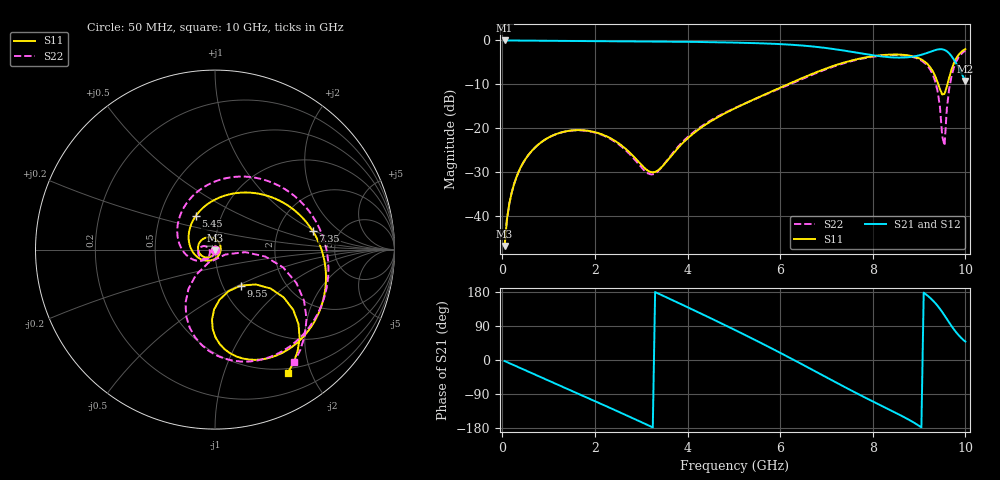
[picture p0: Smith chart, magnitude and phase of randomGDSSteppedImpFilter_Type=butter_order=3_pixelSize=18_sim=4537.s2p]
! freq	dB(S11)	phase(S11)	dB(S12)	phase(S12)
!  dB(S21)	phase(S21)	dB(S22)	phase(S22)
!S-par simulation data
#  GHz  S  DB  R 50
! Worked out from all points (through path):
!   200 points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, 50 MHz to 10 GHz, reference 50 ohm
!   highest |S21| = -0.01 dB at 50 MHz (marker M1); lowest = -9.2 dB at 10 GHz (marker M2)
!   group delay of S21, straight-line fit = 172 ps
!   lowest |S11| = -46.7 dB at 50 MHz (marker M3), VSWR 1.01, Z = 50 - j0.463 ohm
!   |S11| at or under -10 dB: start of sweep to 6.158 GHz; 9.416 GHz to 9.612 GHz (196.4 MHz wide, 2.06 % of centre)
!   |S22| runs from -46.7 to -2.3 dB; largest |S21 - S12| = 0
!   S11 on the Smith chart (normalised r, x): 50 MHz: 1.00, -0.01; 5.45 GHz: 0.76, +0.30; 7.35 GHz: 3.18, +0.95; 9.55 GHz: 1.22, -0.52; 10 GHz: 0.44, -1.66
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0.05  -46.68 -92.1  -0.01 -2.8  -0.01 -2.8  -46.74 -91.3
0.2  -34.70 -101.9  -0.02 -11.0  -0.02 -11.0  -34.71 -99.1
0.5  -26.95 -120.7  -0.04 -27.2  -0.04 -27.2  -26.98 -113.9
1.15  -21.33 -161.6  -0.10 -62.4  -0.10 -62.4  -21.34 -145.1
1.75  -20.41 159.3  -0.15 -94.9  -0.15 -94.9  -20.47 -171.6
2.65  -24.50 88.0  -0.19 -144.3  -0.19 -144.3  -24.78 160.8
3.4  -29.20 -43.4  -0.24 173.6  -0.24 173.6  -29.30 -146.3
4.3  -19.76 -153.8  -0.36 121.9  -0.36 121.9  -19.51 -143.5
5.05  -15.28 147.5  -0.50 77.6  -0.50 77.6  -15.22 -174.9
5.45  -13.32 119.8  -0.61 53.3  -0.61 53.3  -13.36 163.8
6.1  -10.27 79.4  -0.89 12.7  -0.89 12.7  -10.43 122.4
6.7  -7.57 45.8  -1.37 -26.1  -1.37 -26.1  -7.75 78.7
7.35  -5.12 10.7  -2.26 -68.5  -2.26 -68.5  -5.27 29.9
7.85  -3.85 -15.6  -3.12 -100.1  -3.12 -100.1  -3.97 -5.7
8.35  -3.23 -41.3  -3.80 -130.6  -3.80 -130.6  -3.35 -39.2
8.85  -3.57 -67.4  -3.70 -162.5  -3.70 -162.5  -3.72 -73.3
9.25  -6.24 -89.7  -2.55 162.6  -2.55 162.6  -6.80 -108.0
9.4  -9.52 -90.9  -2.06 142.9  -2.06 142.9  -11.56 -124.0
9.55  -12.12 -53.9  -2.15 117.5  -2.15 117.5  -23.90 -25.4
9.6  -10.49 -40.5  -2.46 108.2  -2.46 108.2  -15.45 -4.8
9.7  -6.65 -34.8  -3.57 89.7  -3.57 89.7  -8.14 -14.6
10  -1.97 -59.5  -9.22 48.5  -9.22 48.5  -2.31 -55.0
